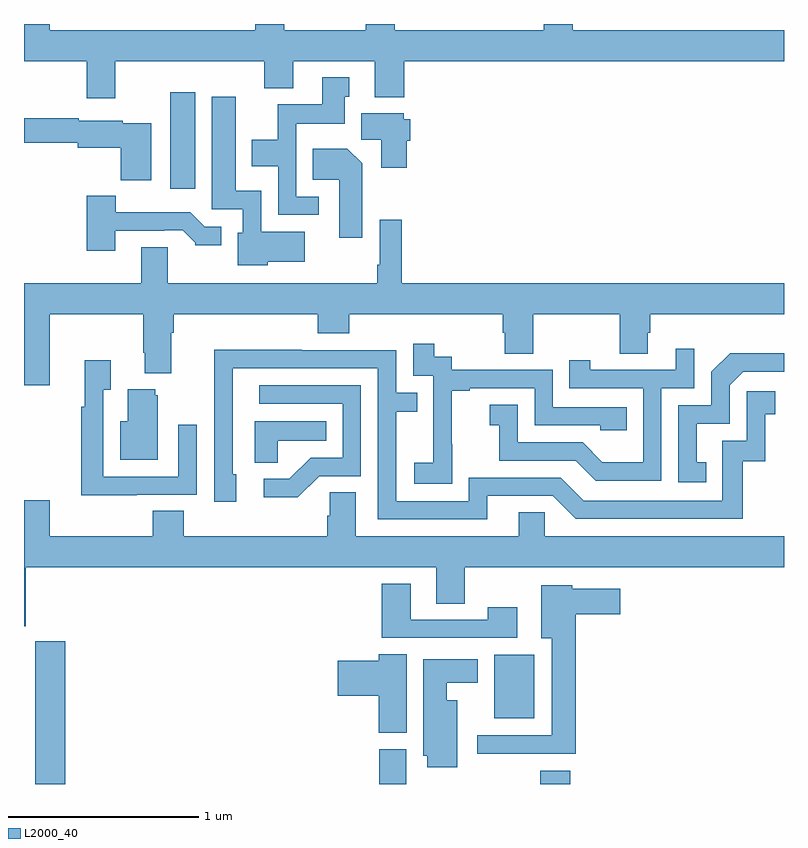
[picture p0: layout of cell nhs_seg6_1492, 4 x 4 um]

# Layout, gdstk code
import gdstk
lib = gdstk.Library(unit=1e-6, precision=1e-09)
def R(c, l, rs):  # rectangles x0, y0, x1, y1
    for r in rs: c.add(gdstk.rectangle(r[:2], r[2:], *l))
def P(c, l, *ps):  # polygons
    for p in ps: c.add(gdstk.Polygon(p, *l))
L2000_40 = (2000, 40)

nhs_seg6_1492 = lib.new_cell('nhs_seg6_1492')
R(nhs_seg6_1492, L2000_40, [(201.058,975.5,201.218,976.252), (202.871,975.5,203.011,975.684), (203.716,975.5,203.876,975.571), (203.474,975.845,203.686,976.18), (201.77,978.633,201.901,979.141)])
P(nhs_seg6_1492, L2000_40, [(201.481,979.304),(202.265,979.304),(202.265,979.163),(202.417,979.163),(202.417,979.304),(202.847,979.304),(202.847,979.115),(203,979.115),(203,979.304),(205,979.304),(205,979.468),(203.888,979.468),(203.888,979.5),(203.735,979.5),(203.735,979.468),(202.952,979.468),(202.952,979.5),(202.799,979.5),(202.799,979.468),(202.369,979.468),(202.369,979.5),(202.217,979.5),(202.217,979.468),(201.136,979.468),(201.136,979.5),(201,979.5),(201,979.304),(201.329,979.304),(201.329,979.11),(201.481,979.11)],
  [(202.552,978.591),(202.434,978.591),(202.434,978.974),(202.687,978.974),(202.687,979.116),(202.711,979.116),(202.711,979.219),(202.571,979.219),(202.571,979.078),(202.336,979.078),(202.336,978.892),(202.199,978.892),(202.199,978.752),(202.338,978.752),(202.338,978.495),(202.552,978.495)],
  [(202.284,978.248),(202.477,978.248),(202.477,978.406),(202.248,978.406),(202.248,978.622),(202.114,978.622),(202.114,979.117),(201.989,979.117),(201.989,978.525),(202.152,978.525),(202.152,978.402),(202.124,978.402),(202.124,978.23),(202.284,978.23)],
  [(203.015,978.885),(203.033,978.885),(203.033,978.999),(202.998,978.999),(202.998,979.03),(202.775,979.03),(202.775,978.892),(202.88,978.892),(202.88,978.744),(203.015,978.744)],
  [(201.67,978.978),(201.519,978.978),(201.519,978.99),(201.288,978.99),(201.288,979.003),(201,979.003),(201,978.874),(201.284,978.874),(201.284,978.848),(201.508,978.848),(201.508,978.677),(201.67,978.677)],
  [(202.78,978.766),(202.702,978.844),(202.519,978.844),(202.519,978.68),(202.658,978.68),(202.658,978.375),(202.78,978.375)],
  [(201.481,978.411),(201.737,978.411),(201.737,978.414),(201.836,978.414),(201.9,978.35),(201.9,978.335),(202.039,978.335),(202.039,978.432),(201.951,978.432),(201.875,978.508),(201.484,978.508),(201.484,978.595),(201.329,978.595),(201.329,978.306),(201.481,978.306)],
  [(201.757,978.326),(201.617,978.326),(201.617,978.136),(201,978.136),(201,977.598),(201.136,977.598),(201.136,977.972),(201.628,977.972),(201.628,977.77),(201.635,977.77),(201.635,977.663),(201.775,977.663),(201.775,977.876),(201.788,977.876),(201.788,977.972),(202.547,977.972),(202.547,977.873),(202.712,977.873),(202.712,977.972),(203.519,977.972),(203.519,977.874),(203.531,977.874),(203.531,977.764),(203.679,977.764),(203.679,977.972),(204.136,977.972),(204.136,977.764),(204.283,977.764),(204.283,977.874),(204.296,977.874),(204.296,977.972),(205,977.972),(205,978.136),(202.988,978.136),(202.988,978.469),(202.872,978.469),(202.872,978.232),(202.86,978.232),(202.86,978.136),(201.757,978.136)],
  [(203.253,977.287),(203.252,977.287),(203.252,977.571),(203.347,977.571),(203.347,977.583),(203.688,977.583),(203.688,977.388),(204.033,977.388),(204.033,977.361),(204.173,977.361),(204.173,977.484),(203.784,977.484),(203.784,977.679),(203.25,977.679),(203.25,977.748),(203.158,977.748),(203.158,977.818),(203.049,977.818),(203.049,977.649),(203.154,977.649),(203.154,977.42),(203.153,977.42),(203.153,977.191),(203.055,977.191),(203.055,977.081),(203.253,977.081)],
  [(204.354,977.583),(204.528,977.583),(204.528,977.791),(204.431,977.791),(204.431,977.679),(203.98,977.679),(203.98,977.731),(203.869,977.731),(203.869,977.583),(204.258,977.583),(204.258,977.194),(204.044,977.194),(203.94,977.298),(203.598,977.298),(203.598,977.497),(203.451,977.497),(203.451,977.387),(203.5,977.387),(203.5,977.202),(203.903,977.202),(204.008,977.097),(204.354,977.097)],
  [(203.437,977.016),(203.784,977.016),(203.904,976.896),(204.784,976.896),(204.784,977.199),(204.902,977.199),(204.902,977.445),(204.955,977.445),(204.955,977.566),(204.804,977.566),(204.804,977.307),(204.675,977.307),(204.675,976.992),(203.946,976.992),(203.826,977.112),(203.34,977.112),(203.34,976.989),(202.959,976.989),(202.959,977.458),(203.069,977.458),(203.069,977.559),(202.959,977.559),(202.959,977.784),(202.463,977.784),(202.463,977.786),(202,977.786),(202,977.479),(202.002,977.479),(202.002,976.986),(202.117,976.986),(202.117,977.13),(202.098,977.13),(202.098,977.688),(202.863,977.688),(202.863,976.893),(203.437,976.893)],
  [(204.59,977.193),(204.541,977.193),(204.541,977.397),(204.714,977.397),(204.714,977.598),(204.786,977.67),(205,977.67),(205,977.768),(204.716,977.768),(204.618,977.67),(204.618,977.493),(204.444,977.493),(204.444,977.088),(204.59,977.088)],
  [(201.593,977.022),(201.909,977.022),(201.909,977.392),(201.813,977.392),(201.813,977.118),(201.417,977.118),(201.417,977.575),(201.457,977.575),(201.457,977.731),(201.32,977.731),(201.32,977.486),(201.301,977.486),(201.301,977.021),(201.593,977.021)],
  [(202.554,977.121),(202.773,977.121),(202.773,977.598),(202.239,977.598),(202.239,977.502),(202.677,977.502),(202.677,977.217),(202.508,977.217),(202.397,977.106),(202.263,977.106),(202.263,977.009),(202.441,977.009)],
  [(201.703,977.547),(201.692,977.547),(201.692,977.578),(201.545,977.578),(201.545,977.41),(201.506,977.41),(201.506,977.207),(201.703,977.207)],
  [(202.335,977.306),(202.592,977.306),(202.592,977.41),(202.214,977.41),(202.214,977.191),(202.335,977.191)],
  [(201,976.331),(201.01,976.331),(201.01,976.64),(203.171,976.64),(203.171,976.45),(203.319,976.45),(203.319,976.64),(205,976.64),(205,976.804),(203.742,976.804),(203.742,976.931),(203.603,976.931),(203.603,976.804),(202.747,976.804),(202.747,977.036),(202.608,977.036),(202.608,976.913),(202.595,976.913),(202.595,976.804),(201.842,976.804),(201.842,976.937),(201.677,976.937),(201.677,976.804),(201.136,976.804),(201.136,976.993),(201,976.993)],
  [(203.596,976.429),(203.44,976.429),(203.44,976.365),(203.035,976.365),(203.035,976.555),(202.883,976.555),(202.883,976.269),(203.596,976.269)],
  [(203.903,976.394),(204.139,976.394),(204.139,976.528),(203.886,976.528),(203.886,976.546),(203.723,976.546),(203.723,976.268),(203.777,976.268),(203.777,975.756),(203.385,975.756),(203.385,975.659),(203.903,975.659)],
  [(203.014,976.184),(202.868,976.184),(202.868,976.148),(202.65,976.148),(202.65,975.965),(202.868,975.965),(202.868,975.769),(203.014,975.769)],
  [(203.281,975.94),(203.224,975.94),(203.224,976.034),(203.389,976.034),(203.389,976.156),(203.102,976.156),(203.102,975.648),(203.123,975.648),(203.123,975.588),(203.281,975.588)])

lib.write_gds('nhs_seg6_1492.gds')
